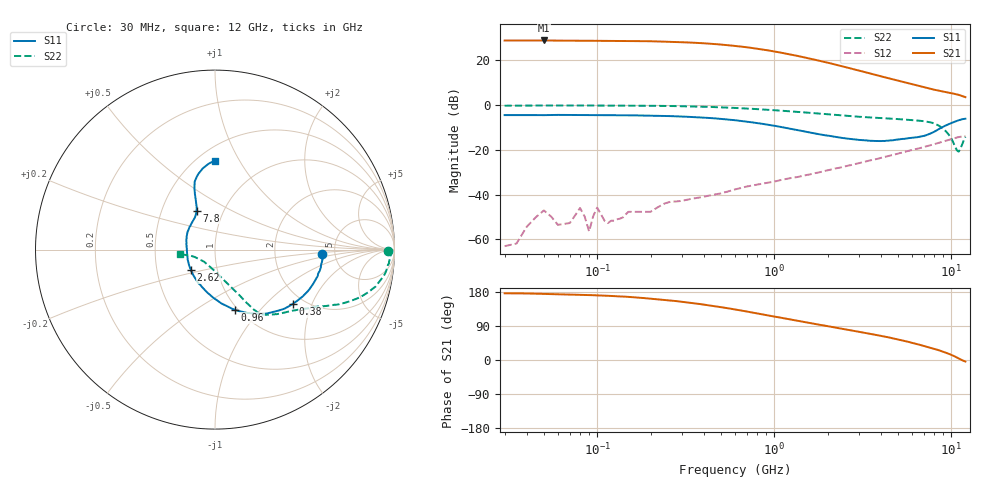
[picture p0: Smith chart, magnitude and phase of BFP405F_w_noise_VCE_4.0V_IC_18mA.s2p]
! Infineon Technologies  Discrete & RF Semiconductors
! BFP405F
! VCE =  4.0 V,  IC =  18 mA
! Common Emitter S-Parameters:  Nov 2015
# GHz  S  MA  R  50
!  f  S11  S21  S12  S22
! GHz  MAG  ANG  MAG  ANG  MAG  ANG  MAG  ANG
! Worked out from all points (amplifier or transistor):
!   239 points, 30 MHz to 12 GHz, reference 50 ohm
!   highest |S21| = 28.9 dB at 50 MHz (marker M1)
!   |S21| within 3 dB of that: start of sweep to 693.4 MHz
!   unconditionally stable (mu >= 1): 1.857 GHz to end of sweep
!   at 300 MHz: K = 0.24, MSG = 35.5 dB, |S12| = -42.9 dB
!   at 1.88 GHz: K = 1.00, MAG = 24.2 dB, |S12| = -29.7 dB
!   at 12 GHz: K = 1.37, MAG = 5.1 dB, |S12| = -13.8 dB
!   lowest NFmin = 2.14 dB at 450 MHz
!   S11 on the Smith chart (normalised r, x): 30 MHz: 3.93, -0.27; 380 MHz: 1.75, -1.47; 960 MHz: 0.97, -0.75; 2.62 GHz: 0.75, -0.18; 7.8 GHz: 0.75, +0.34; 12 GHz: 0.61, +0.79
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0.03  0.5961 -2.1  27.67 176.0  0.0007 -110.2  0.9664 -0.4
0.05  0.5948 -4.5  27.78 174.4  0.0044 117.7  0.9792 -0.9
0.085  0.5977 -8.0  27.35 171.6  0.0032 96.8  0.9759 -2.6
0.09  0.5969 -8.5  27.38 171.4  0.0015 86.5  0.9761 -2.8
0.1  0.5983 -9.4  27.21 170.6  0.0051 99.5  0.9746 -3.4
0.115  0.5958 -11.1  27.15 169.3  0.0023 82.3  0.9737 -3.6
0.145  0.5904 -14.0  27.06 167.1  0.0036 91.5  0.9697 -4.8
0.24  0.5706 -22.8  26.13 158.7  0.0063 83.8  0.9559 -8.2
0.3  0.5542 -28.0  25.45 153.7  0.0072 86.1  0.9405 -10.1
0.38  0.5285 -34.8  24.3 147.7  0.0086 75.1  0.9222 -12.4
0.46  0.5047 -41.0  23.12 142.1  0.01 76.6  0.8999 -14.4
0.6  0.4579 -51.1  20.98 133.2  0.013 69.6  0.8613 -17.4
0.74  0.4127 -59.4  18.99 126.0  0.0157 73.6  0.8253 -19.7
0.96  0.3539 -71.5  16.22 116.2  0.0189 71.9  0.7753 -22.6
1.3  0.2831 -87.6  12.95 104.8  0.024 71.7  0.7117 -25.9
1.64  0.2379 -101.9  10.63 96.5  0.029 71.1  0.6633 -28.5
2.06  0.2039 -119.1  8.624 88.2  0.0356 71.3  0.6157 -32.1
2.62  0.1765 -139.3  6.785 79.4  0.0443 69.5  0.5699 -36.0
4.5  0.1616 170.6  3.898 58.9  0.0738 63.5  0.4989 -46.0
7.8  0.2409 115.3  2.255 30.9  0.1295 50.6  0.4003 -57.0
11  0.4575 98.6  1.688 4.0  0.1922 31.6  0.0908 -132.2
12  0.4938 90.3  1.501 -4.1  0.2034 25.7  0.1955 -172.4
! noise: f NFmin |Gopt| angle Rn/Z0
0.45  2.14  0.04  -3  0.51
0.9  2.16  0.03  -6  0.3
1.5  2.2  0.02  -39  0.2
1.9  2.26  0.02  -85  0.26
2.4  2.41  0.02  -104  0.39
3  2.5  0.04  -109  0.06
3.5  2.58  0.06  -113  0.22
4.5  2.8  0.12  -102  0.4
5.5  3.09  0.21  -88  0.41
